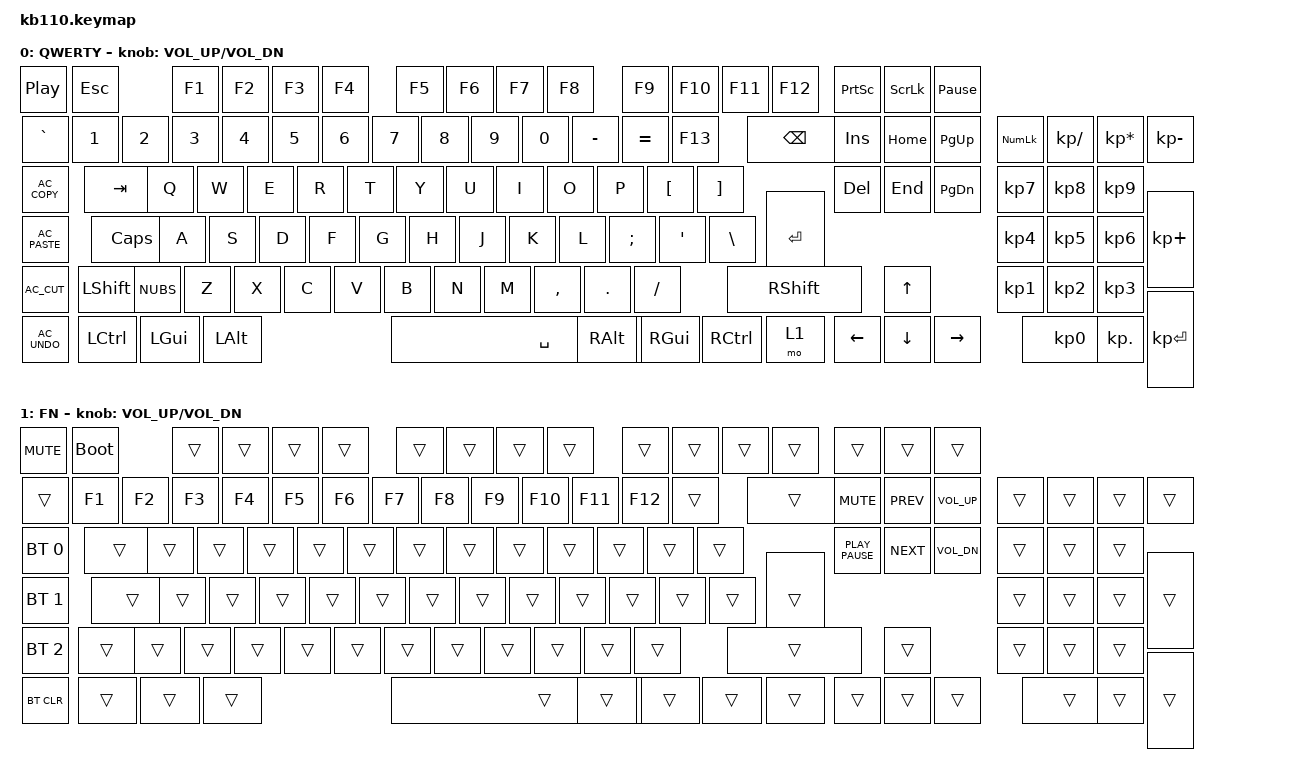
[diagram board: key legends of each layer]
/*
 * kb110 default keymap
 *
 * Base layer: full US QWERTY on the ISO physical layout, including the
 * navigation cluster and the numeric keypad. The five extra keys of the left
 * macro column are mapped to copy / paste / cut / undo, the spare key next to
 * Backspace to F13 and the spare key in the function row to Escape.
 *
 * FN layer (hold the right-most bottom modifier, `&mo 1`):
 *   - Esc                -> reboot into the bootloader (for flashing)
 *   - 1..0, -, =         -> F1..F12
 *   - Ins/Home/PgUp      -> mute / previous track / volume up
 *   - Del/End/PgDn       -> play-pause / next track / volume down
 *   - macro column       -> BT profile 1-3 select, Undo key -> BT clear
 *   - encoder press      -> mute
 *
 * The encoder rotates through volume up / volume down on both layers.
 */

#include <behaviors.dtsi>
#include <dt-bindings/zmk/keys.h>
#include <dt-bindings/zmk/bt.h>

/ {
    sensors {
        compatible = "zmk,keymap-sensors";
        sensors = <&encoder_sensor>;
        triggers-per-rotation = <20>;
    };

    keymap {
        compatible = "zmk,keymap";

        qwerty_layer {
            display-name = "QWERTY";

            sensor-bindings = <&inc_dec_kp C_VOL_UP C_VOL_DN>;

            bindings = <
            /* function row (encoder press, Esc, F1-F12, PrtSc, ScrLk, Pause) */
            &kp C_PP   // pos 0: ENC
            &kp ESC   // pos 1: MX1
            &kp F1   // pos 2: MX2
            &kp F2   // pos 3: MX3
            &kp F3   // pos 4: MX4
            &kp F4   // pos 5: MX5
            &kp F5   // pos 6: MX6
            &kp F6   // pos 7: MX7
            &kp F7   // pos 8: MX8
            &kp F8   // pos 9: MX9
            &kp F9   // pos 10: MX10
            &kp F10   // pos 11: MX11
            &kp F11   // pos 12: MX12
            &kp F12   // pos 13: MX13
            &kp PSCRN   // pos 14: MX14
            &kp SLCK   // pos 15: MX15
            &kp PAUSE_BREAK   // pos 16: MX16
            /* number row (`-row, F13, Backspace, Ins/Home/PgUp, NumLock / * -) */
            &kp GRAVE   // pos 17: MX17
            &kp N1   // pos 18: MX18
            &kp N2   // pos 19: MX19
            &kp N3   // pos 20: MX20
            &kp N4   // pos 21: MX21
            &kp N5   // pos 22: MX22
            &kp N6   // pos 23: MX23
            &kp N7   // pos 24: MX24
            &kp N8   // pos 25: MX25
            &kp N9   // pos 26: MX26
            &kp N0   // pos 27: MX27
            &kp MINUS   // pos 28: MX28
            &kp EQUAL   // pos 29: MX29
            &kp F13   // pos 30: MX30
            &kp BSPC   // pos 31: MX31
            &kp INS   // pos 32: MX32
            &kp HOME   // pos 33: MX33
            &kp PG_UP   // pos 34: MX34
            &kp KP_NUM   // pos 35: MX35
            &kp KP_DIVIDE   // pos 36: MX36
            &kp KP_MULTIPLY   // pos 37: MX37
            &kp KP_MINUS   // pos 38: MX38
            /* Q row (macro, Tab, QWERTYUIOP, [ ], ISO Enter, Del/End/PgDn, numpad 7 8) */
            &kp C_AC_COPY   // pos 39: MX39
            &kp TAB   // pos 40: MX40
            &kp Q   // pos 41: MX41
            &kp W   // pos 42: MX42
            &kp E   // pos 43: MX43
            &kp R   // pos 44: MX44
            &kp T   // pos 45: MX45
            &kp Y   // pos 46: MX46
            &kp U   // pos 47: MX47
            &kp I   // pos 48: MX48
            &kp O   // pos 49: MX49
            &kp P   // pos 50: MX50
            &kp LBKT   // pos 51: MX51
            &kp RBKT   // pos 52: MX52
            &kp RET   // pos 53: MX53
            &kp DEL   // pos 54: MX54
            &kp END   // pos 55: MX55
            &kp PG_DN   // pos 56: MX56
            &kp KP_N7   // pos 57: MX57
            &kp KP_N8   // pos 58: MX58
            /* numpad 9 and + (2u tall) */
            &kp KP_N9   // pos 59: MX59
            &kp KP_PLUS   // pos 60: MX60
            /* home row (macro, Caps, ASDFGHJKL, ; ' \, numpad 4 5 6) */
            &kp C_AC_PASTE   // pos 61: MX61
            &kp CLCK   // pos 62: MX62
            &kp A   // pos 63: MX63
            &kp S   // pos 64: MX64
            &kp D   // pos 65: MX65
            &kp F   // pos 66: MX66
            &kp G   // pos 67: MX67
            &kp H   // pos 68: MX68
            &kp J   // pos 69: MX69
            &kp K   // pos 70: MX70
            &kp L   // pos 71: MX71
            &kp SEMI   // pos 72: MX72
            &kp SQT   // pos 73: MX73
            &kp BSLH   // pos 74: MX74
            &kp KP_N4   // pos 75: MX75
            &kp KP_N5   // pos 76: MX76
            &kp KP_N6   // pos 77: MX77
            /* Z row (macro, LShift, ISO extra key, ZXCVBNM, , . /, RShift, Up, numpad 1 2 3) */
            &kp C_AC_CUT   // pos 78: MX78
            &kp LSHFT   // pos 79: MX79
            &kp NUBS   // pos 80: MX80
            &kp Z   // pos 81: MX81
            &kp X   // pos 82: MX82
            &kp C   // pos 83: MX83
            &kp V   // pos 84: MX84
            &kp B   // pos 85: MX85
            &kp N   // pos 86: MX86
            &kp M   // pos 87: MX87
            &kp COMMA   // pos 88: MX88
            &kp DOT   // pos 89: MX89
            &kp FSLH   // pos 90: MX90
            &kp RSHFT   // pos 91: MX91
            &kp UP   // pos 92: MX92
            &kp KP_N1   // pos 93: MX93
            &kp KP_N2   // pos 94: MX94
            &kp KP_N3   // pos 95: MX95
            /* numpad Enter (2u tall) */
            &kp KP_ENTER   // pos 96: MX96
            /* bottom row (macro, Ctrl Gui Alt Space AltGui Ctrl Fn arrows, numpad 0 .) */
            &kp C_AC_UNDO   // pos 97: MX97
            &kp LCTRL   // pos 98: MX98
            &kp LGUI   // pos 99: MX99
            &kp LALT   // pos 100: MX100
            &kp SPACE   // pos 101: MX101
            &kp RALT   // pos 102: MX102
            &kp RGUI   // pos 103: MX103
            &kp RCTRL   // pos 104: MX104
            &mo 1   // pos 105: MX105
            &kp LEFT   // pos 106: MX106
            &kp DOWN   // pos 107: MX107
            &kp RIGHT   // pos 108: MX108
            &kp KP_N0   // pos 109: MX109
            &kp KP_DOT   // pos 110: MX110
            >;
        };

        fn_layer {
            display-name = "FN";

            sensor-bindings = <&inc_dec_kp C_VOL_UP C_VOL_DN>;

            bindings = <
            /* function row (encoder press, Esc, F1-F12, PrtSc, ScrLk, Pause) */
            &kp C_MUTE   // pos 0: ENC
            &bootloader   // pos 1: MX1
            &trans   // pos 2: MX2
            &trans   // pos 3: MX3
            &trans   // pos 4: MX4
            &trans   // pos 5: MX5
            &trans   // pos 6: MX6
            &trans   // pos 7: MX7
            &trans   // pos 8: MX8
            &trans   // pos 9: MX9
            &trans   // pos 10: MX10
            &trans   // pos 11: MX11
            &trans   // pos 12: MX12
            &trans   // pos 13: MX13
            &trans   // pos 14: MX14
            &trans   // pos 15: MX15
            &trans   // pos 16: MX16
            /* number row (`-row, F13, Backspace, Ins/Home/PgUp, NumLock / * -) */
            &trans   // pos 17: MX17
            &kp F1   // pos 18: MX18
            &kp F2   // pos 19: MX19
            &kp F3   // pos 20: MX20
            &kp F4   // pos 21: MX21
            &kp F5   // pos 22: MX22
            &kp F6   // pos 23: MX23
            &kp F7   // pos 24: MX24
            &kp F8   // pos 25: MX25
            &kp F9   // pos 26: MX26
            &kp F10   // pos 27: MX27
            &kp F11   // pos 28: MX28
            &kp F12   // pos 29: MX29
            &trans   // pos 30: MX30
            &trans   // pos 31: MX31
            &kp C_MUTE   // pos 32: MX32
            &kp K_PREV   // pos 33: MX33
            &kp C_VOL_UP   // pos 34: MX34
            &trans   // pos 35: MX35
            &trans   // pos 36: MX36
            &trans   // pos 37: MX37
            &trans   // pos 38: MX38
            /* Q row (macro, Tab, QWERTYUIOP, [ ], ISO Enter, Del/End/PgDn, numpad 7 8) */
            &bt BT_SEL 0   // pos 39: MX39
            &trans   // pos 40: MX40
            &trans   // pos 41: MX41
            &trans   // pos 42: MX42
            &trans   // pos 43: MX43
            &trans   // pos 44: MX44
            &trans   // pos 45: MX45
            &trans   // pos 46: MX46
            &trans   // pos 47: MX47
            &trans   // pos 48: MX48
            &trans   // pos 49: MX49
            &trans   // pos 50: MX50
            &trans   // pos 51: MX51
            &trans   // pos 52: MX52
            &trans   // pos 53: MX53
            &kp K_PLAY_PAUSE   // pos 54: MX54
            &kp K_NEXT   // pos 55: MX55
            &kp C_VOL_DN   // pos 56: MX56
            &trans   // pos 57: MX57
            &trans   // pos 58: MX58
            /* numpad 9 and + (2u tall) */
            &trans   // pos 59: MX59
            &trans   // pos 60: MX60
            /* home row (macro, Caps, ASDFGHJKL, ; ' \, numpad 4 5 6) */
            &bt BT_SEL 1   // pos 61: MX61
            &trans   // pos 62: MX62
            &trans   // pos 63: MX63
            &trans   // pos 64: MX64
            &trans   // pos 65: MX65
            &trans   // pos 66: MX66
            &trans   // pos 67: MX67
            &trans   // pos 68: MX68
            &trans   // pos 69: MX69
            &trans   // pos 70: MX70
            &trans   // pos 71: MX71
            &trans   // pos 72: MX72
            &trans   // pos 73: MX73
            &trans   // pos 74: MX74
            &trans   // pos 75: MX75
            &trans   // pos 76: MX76
            &trans   // pos 77: MX77
            /* Z row (macro, LShift, ISO extra key, ZXCVBNM, , . /, RShift, Up, numpad 1 2 3) */
            &bt BT_SEL 2   // pos 78: MX78
            &trans   // pos 79: MX79
            &trans   // pos 80: MX80
            &trans   // pos 81: MX81
            &trans   // pos 82: MX82
            &trans   // pos 83: MX83
            &trans   // pos 84: MX84
            &trans   // pos 85: MX85
            &trans   // pos 86: MX86
            &trans   // pos 87: MX87
            &trans   // pos 88: MX88
            &trans   // pos 89: MX89
            &trans   // pos 90: MX90
            &trans   // pos 91: MX91
            &trans   // pos 92: MX92
            &trans   // pos 93: MX93
            &trans   // pos 94: MX94
            &trans   // pos 95: MX95
            /* numpad Enter (2u tall) */
            &trans   // pos 96: MX96
            /* bottom row (macro, Ctrl Gui Alt Space AltGui Ctrl Fn arrows, numpad 0 .) */
            &bt BT_CLR   // pos 97: MX97
            &trans   // pos 98: MX98
            &trans   // pos 99: MX99
            &trans   // pos 100: MX100
            &trans   // pos 101: MX101
            &trans   // pos 102: MX102
            &trans   // pos 103: MX103
            &trans   // pos 104: MX104
            &trans   // pos 105: MX105
            &trans   // pos 106: MX106
            &trans   // pos 107: MX107
            &trans   // pos 108: MX108
            &trans   // pos 109: MX109
            &trans   // pos 110: MX110
            >;
        };
    };
};
